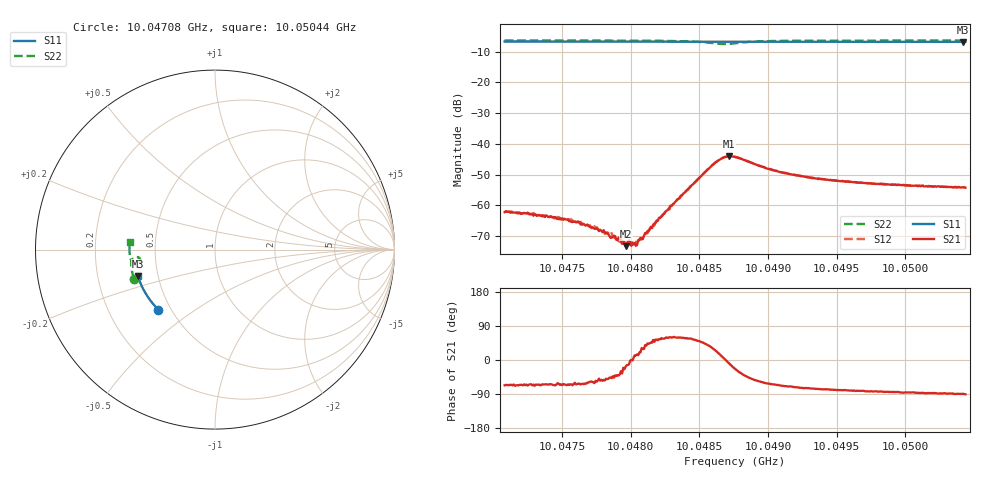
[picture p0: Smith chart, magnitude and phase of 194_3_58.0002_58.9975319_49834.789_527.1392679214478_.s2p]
#  HZ  S  RI  R  50.00
! Rohde & Schwarz Vector Network Analyzer
! Rohde-Schwarz,ZNB20-2Port,1311601062101988,3.16
! Created: UTC 3/21/2024, 12:58:58 AM
! freq[Hz]  re:S11  im:S11  re:S21  im:S21  re:S12  im:S12  re:S22  im:S22
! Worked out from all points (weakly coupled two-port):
!   401 points, 10.04708 GHz to 10.05044 GHz, reference 50 ohm
!   highest |S21| = -44.07 dB at 10.04872 GHz (marker M1); lowest = -73.3 dB at 10.04796 GHz (marker M2)
!   lowest |S11| = -6.8 dB at 10.05042 GHz (marker M3), VSWR 2.67, Z = 19.2 - j7.15 ohm
!   |S11| at or under -10 dB: nowhere
!   |S22| runs from -7.6 to -6.4 dB; largest |S21 - S12| = 0.00045
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1.0047081e10  -0.3166 -0.3343  0.000305 -0.000711  0.000381 -0.000717  -0.4508 -0.1625
1.0047434e10  -0.3328 -0.3173  0.000265 -0.000588  0.000314 -0.000562  -0.4579 -0.1391
1.0047585e10  -0.3392 -0.3096  0.000246 -0.000481  0.000289 -0.000484  -0.4605 -0.1285
1.0047643e10  -0.3419 -0.3068  0.00022 -0.000432  0.000269 -0.000438  -0.4614 -0.1244
1.0047786e10  -0.348 -0.2995  0.000234 -0.000305  0.000259 -0.000301  -0.4634 -0.114
1.0047845e10  -0.3503 -0.2963  0.000218 -0.00023  0.000242 -0.000221  -0.4642 -0.1096
1.0047929e10  -0.3537 -0.2919  0.000241 -0.000136  0.000228 -9.92e-05  -0.4651 -0.1031
1.0047954e10  -0.3547 -0.2907  0.000233 -0.000105  0.000257 -8.29e-05  -0.4653 -0.1011
1.0047962e10  -0.3551 -0.2902  0.000206 -6.56e-05  0.000247 -6.09e-05  -0.4653 -0.1005
1.0048012e10  -0.357 -0.2876  0.00024 -4.92e-06  0.000251 7.5e-06  -0.4657 -0.0962
1.0048046e10  -0.3584 -0.2858  0.000219 5.71e-05  0.000256 0.000107  -0.466 -0.0935
1.004813e10  -0.3618 -0.2814  0.000276 0.000258  0.000267 0.000283  -0.4662 -0.0862
1.0048205e10  -0.3648 -0.2773  0.000358 0.000512  0.000318 0.000529  -0.4662 -0.0794
1.00486e10  -0.379 -0.2556  0.00397 0.00231  0.00385 0.00257  -0.4316 -0.0416
1.0048667e10  -0.3811 -0.2518  0.00578 0.000912  0.00575 0.00124  -0.4167 -0.0536
1.0048717e10  -0.3826 -0.2491  0.00617 -0.00105  0.00627 -0.000629  -0.416 -0.0697
1.0048759e10  -0.3842 -0.247  0.00563 -0.00242  0.00577 -0.00209  -0.4236 -0.0795
1.0049045e10  -0.394 -0.2309  0.00156 -0.00334  0.00177 -0.00328  -0.4656 -0.064
1.0049321e10  -0.4025 -0.2147  0.000688 -0.00267  0.000859 -0.00269  -0.4736 -0.0385
1.0049884e10  -0.4179 -0.181  0.000195 -0.00217  0.000339 -0.00213  -0.4766 0.0045
1.0050421e10  -0.4298 -0.1477  3.54e-05 -0.00195  0.000125 -0.00194  -0.4748 0.0416
1.0050437e10  -0.4303 -0.1466  -1.24e-05 -0.00193  9.84e-05 -0.00199  -0.4747 0.0426
